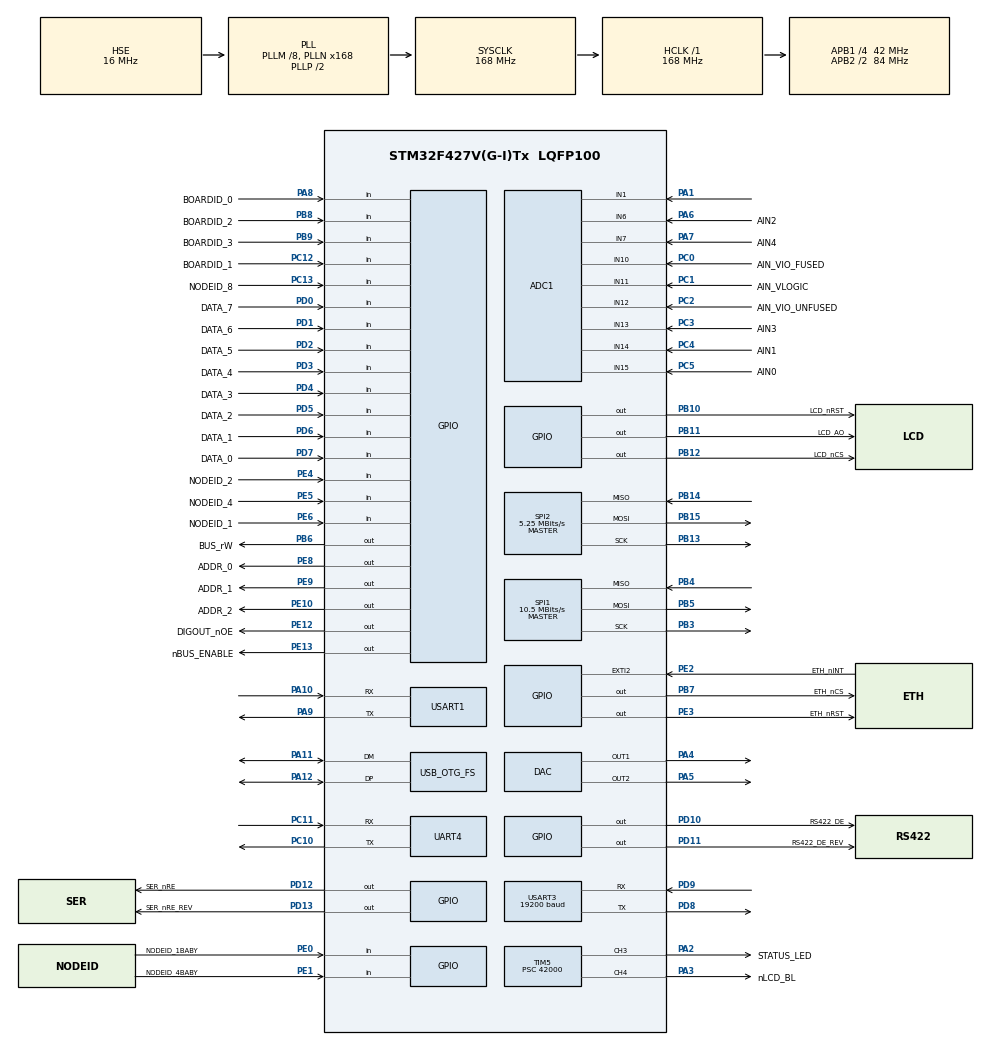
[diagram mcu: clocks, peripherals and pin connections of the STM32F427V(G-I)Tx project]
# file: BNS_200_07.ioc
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ADC1.Channel-0\#ChannelRegularConversion=ADC_CHANNEL_6
ADC1.NbrOfConversionFlag=1
ADC1.Rank-0\#ChannelRegularConversion=1
ADC1.SamplingTime-0\#ChannelRegularConversion=ADC_SAMPLETIME_3CYCLES
ADC1.master=1
Dma.Request0=USART3_TX
Dma.Request1=USART3_RX
Dma.USART3_RX.1.Direction=DMA_PERIPH_TO_MEMORY
Dma.USART3_RX.1.FIFOMode=DMA_FIFOMODE_DISABLE
Dma.USART3_RX.1.Instance=DMA1_Stream1
Dma.USART3_RX.1.MemDataAlignment=DMA_MDATAALIGN_BYTE
Dma.USART3_RX.1.MemInc=DMA_MINC_ENABLE
Dma.USART3_RX.1.Mode=DMA_CIRCULAR
Dma.USART3_RX.1.PeriphDataAlignment=DMA_PDATAALIGN_BYTE
Dma.USART3_RX.1.PeriphInc=DMA_PINC_DISABLE
Dma.USART3_RX.1.Priority=DMA_PRIORITY_LOW
Dma.USART3_TX.0.Direction=DMA_MEMORY_TO_PERIPH
Dma.USART3_TX.0.FIFOMode=DMA_FIFOMODE_DISABLE
Dma.USART3_TX.0.Instance=DMA1_Stream3
Dma.USART3_TX.0.MemDataAlignment=DMA_MDATAALIGN_BYTE
Dma.USART3_TX.0.MemInc=DMA_MINC_ENABLE
Dma.USART3_TX.0.Mode=DMA_NORMAL
Dma.USART3_TX.0.PeriphDataAlignment=DMA_PDATAALIGN_BYTE
Dma.USART3_TX.0.PeriphInc=DMA_PINC_DISABLE
Dma.USART3_TX.0.Priority=DMA_PRIORITY_LOW
Mcu.Family=STM32F4
Mcu.Name=STM32F427V(G-I)Tx
Mcu.Package=LQFP100
NVIC.DMA1_Stream1_IRQn=true\:0\:0\:false\:false\:true\:false\:true\:true
NVIC.DMA1_Stream3_IRQn=true\:0\:0\:false\:false\:true\:false\:true\:true
NVIC.OTG_FS_IRQn=true\:0\:0\:false\:false\:true\:false\:true\:true
NVIC.PriorityGroup=NVIC_PRIORITYGROUP_4
NVIC.UART4_IRQn=true\:0\:0\:false\:false\:true\:true\:true\:true
NVIC.USART1_IRQn=true\:0\:0\:false\:false\:true\:true\:true\:true
NVIC.USART3_IRQn=true\:0\:0\:false\:false\:true\:true\:true\:true
PA1.Signal=ADCx_IN1
PA10.Mode=Asynchronous
PA10.Signal=USART1_RX
PA11.Mode=Device_Only
PA11.Signal=USB_OTG_FS_DM
PA12.Mode=Device_Only
PA12.Signal=USB_OTG_FS_DP
PA13.Mode=Serial_Wire
PA13.Signal=SYS_JTMS-SWDIO
PA14.Mode=Serial_Wire
PA14.Signal=SYS_JTCK-SWCLK
PA2.GPIO_Label=STATUS_LED
PA2.Signal=S_TIM5_CH3
PA3.GPIO_Label=nLCD_BL
PA3.Signal=S_TIM5_CH4
PA4.Signal=COMP_DAC1_group
PA5.Signal=COMP_DAC2_group
PA6.GPIO_Label=AIN2
PA6.Signal=ADCx_IN6
PA7.GPIO_Label=AIN4
PA7.Signal=ADCx_IN7
PA8.GPIO_Label=BOARDID_0
PA8.GPIO_PuPd=GPIO_PULLDOWN
PA8.Signal=GPIO_Input
PA9.Mode=Asynchronous
PA9.Signal=USART1_TX
PB10.GPIO_Label=LCD_nRST
PB10.PinState=GPIO_PIN_SET
PB10.Signal=GPIO_Output
PB11.GPIO_Label=LCD_AO
PB11.Signal=GPIO_Output
PB12.GPIO_Label=LCD_nCS
PB12.PinState=GPIO_PIN_SET
PB12.Signal=GPIO_Output
PB13.Mode=Full_Duplex_Master
PB13.Signal=SPI2_SCK
PB14.Mode=Full_Duplex_Master
PB14.Signal=SPI2_MISO
PB15.Mode=Full_Duplex_Master
PB15.Signal=SPI2_MOSI
PB3.Mode=Full_Duplex_Master
PB3.Signal=SPI1_SCK
PB4.Mode=Full_Duplex_Master
PB4.Signal=SPI1_MISO
PB5.Mode=Full_Duplex_Master
PB5.Signal=SPI1_MOSI
PB6.GPIO_Label=BUS_rW
PB6.Signal=GPIO_Output
PB7.GPIO_Label=ETH_nCS
PB7.PinState=GPIO_PIN_SET
PB7.Signal=GPIO_Output
PB8.GPIO_Label=BOARDID_2
PB8.GPIO_PuPd=GPIO_PULLDOWN
PB8.Signal=GPIO_Input
PB9.GPIO_Label=BOARDID_3
PB9.GPIO_PuPd=GPIO_PULLDOWN
PB9.Signal=GPIO_Input
PC0.GPIO_Label=AIN_VIO_FUSED
PC0.Signal=ADCx_IN10
PC1.GPIO_Label=AIN_VLOGIC
PC1.Signal=ADCx_IN11
PC10.Mode=Asynchronous
PC10.Signal=UART4_TX
PC11.Mode=Asynchronous
PC11.Signal=UART4_RX
PC12.GPIO_Label=BOARDID_1
PC12.GPIO_PuPd=GPIO_PULLDOWN
PC12.Signal=GPIO_Input
PC13.GPIO_Label=NODEID_8
PC13.GPIO_PuPd=GPIO_PULLDOWN
PC13.Signal=GPIO_Input
PC14/OSC32_IN.Mode=LSE-External-Oscillator
PC14/OSC32_IN.Signal=RCC_OSC32_IN
PC15/OSC32_OUT.Mode=LSE-External-Oscillator
PC15/OSC32_OUT.Signal=RCC_OSC32_OUT
PC2.GPIO_Label=AIN_VIO_UNFUSED
PC2.Signal=ADCx_IN12
PC3.GPIO_Label=AIN3
PC3.Signal=ADCx_IN13
PC4.GPIO_Label=AIN1
PC4.Signal=ADCx_IN14
PC5.GPIO_Label=AIN0
PC5.Signal=ADCx_IN15
PD0.GPIO_Label=DATA_7
PD0.Signal=GPIO_Input
PD1.GPIO_Label=DATA_6
PD1.Signal=GPIO_Input
PD10.GPIO_Label=RS422_DE
PD10.Signal=GPIO_Output
PD11.GPIO_Label=RS422_DE_REV
PD11.Signal=GPIO_Output
PD12.GPIO_Label=SER_nRE
PD12.PinState=GPIO_PIN_SET
PD12.Signal=GPIO_Output
PD13.GPIO_Label=SER_nRE_REV
PD13.PinState=GPIO_PIN_SET
PD13.Signal=GPIO_Output
PD2.GPIO_Label=DATA_5
PD2.Signal=GPIO_Input
PD3.GPIO_Label=DATA_4
PD3.Signal=GPIO_Input
PD4.GPIO_Label=DATA_3
PD4.Signal=GPIO_Input
PD5.GPIO_Label=DATA_2
PD5.Signal=GPIO_Input
PD6.GPIO_Label=DATA_1
PD6.Signal=GPIO_Input
PD7.GPIO_Label=DATA_0
PD7.Signal=GPIO_Input
PD8.Mode=Asynchronous
PD8.Signal=USART3_TX
PD9.Mode=Asynchronous
PD9.Signal=USART3_RX
PE0.GPIO_Label=NODEID_1BABY
PE0.GPIO_PuPd=GPIO_PULLDOWN
PE0.Signal=GPIO_Input
PE1.GPIO_Label=NODEID_4BABY
PE1.GPIO_PuPd=GPIO_PULLDOWN
PE1.Signal=GPIO_Input
PE10.GPIO_Label=ADDR_2
PE10.Signal=GPIO_Output
PE12.GPIO_Label=DIGOUT_nOE
PE12.PinState=GPIO_PIN_SET
PE12.Signal=GPIO_Output
PE13.GPIO_Label=nBUS_ENABLE
PE13.PinState=GPIO_PIN_SET
PE13.Signal=GPIO_Output
PE2.GPIO_Label=ETH_nINT
PE2.GPIO_ModeDefaultEXTI=GPIO_MODE_IT_FALLING
PE2.GPIO_PuPd=GPIO_PULLUP
PE2.Signal=GPXTI2
PE3.GPIO_Label=ETH_nRST
PE3.PinState=GPIO_PIN_SET
PE3.Signal=GPIO_Output
PE4.GPIO_Label=NODEID_2
PE4.GPIO_PuPd=GPIO_PULLDOWN
PE4.Signal=GPIO_Input
PE5.GPIO_Label=NODEID_4
PE5.GPIO_PuPd=GPIO_PULLDOWN
PE5.Signal=GPIO_Input
PE6.GPIO_Label=NODEID_1
PE6.GPIO_PuPd=GPIO_PULLDOWN
PE6.Signal=GPIO_Input
PE8.GPIO_Label=ADDR_0
PE8.Signal=GPIO_Output
PE9.GPIO_Label=ADDR_1
PE9.Signal=GPIO_Output
PH0/OSC_IN.Mode=HSE-External-Oscillator
PH0/OSC_IN.Signal=RCC_OSC_IN
PH1/OSC_OUT.Mode=HSE-External-Oscillator
PH1/OSC_OUT.Signal=RCC_OSC_OUT
ProjectManager.HeapSize=0x200
ProjectManager.StackSize=0x400
ProjectManager.TargetToolchain=STM32CubeIDE
RCC.48MHZClocksFreq_Value=48000000
RCC.AHBFreq_Value=168000000
RCC.APB1CLKDivider=RCC_HCLK_DIV4
RCC.APB1Freq_Value=42000000
RCC.APB1TimFreq_Value=84000000
RCC.APB2CLKDivider=RCC_HCLK_DIV2
RCC.APB2Freq_Value=84000000
RCC.APB2TimFreq_Value=168000000
RCC.CortexFreq_Value=168000000
RCC.HCLKFreq_Value=168000000
RCC.HSE_VALUE=16000000
RCC.HSI_VALUE=16000000
RCC.PLLM=8
RCC.PLLN=168
RCC.PLLQ=7
RCC.RCC_MCO1Source=RCC_MCO1SOURCE_HSE
RCC.RCC_RTC_Clock_Source=RCC_RTCCLKSOURCE_LSE
RCC.RCC_RTC_Clock_SourceVirtual=RCC_RTCCLKSOURCE_LSE
RCC.SYSCLKFreq_VALUE=168000000
RCC.SYSCLKSource=RCC_SYSCLKSOURCE_PLLCLK
RCC.VCOOutputFreq_Value=336000000
SH.ADCx_IN1.0=ADC1_IN1,IN1
SH.ADCx_IN10.0=ADC1_IN10,IN10
SH.ADCx_IN11.0=ADC1_IN11,IN11
SH.ADCx_IN12.0=ADC1_IN12,IN12
SH.ADCx_IN13.0=ADC1_IN13,IN13
SH.ADCx_IN14.0=ADC1_IN14,IN14
SH.ADCx_IN15.0=ADC1_IN15,IN15
SH.ADCx_IN6.0=ADC1_IN6,IN6
SH.ADCx_IN7.0=ADC1_IN7,IN7
SH.COMP_DAC1_group.0=DAC_OUT1,DAC_OUT1
SH.COMP_DAC2_group.0=DAC_OUT2,DAC_OUT2
SH.S_TIM5_CH3.0=TIM5_CH3,PWM Generation3 CH3
SH.S_TIM5_CH4.0=TIM5_CH4,PWM Generation4 CH4
SPI1.BaudRatePrescaler=SPI_BAUDRATEPRESCALER_8
SPI1.CalculateBaudRate=10.5 MBits/s
SPI1.Direction=SPI_DIRECTION_2LINES
SPI1.Mode=SPI_MODE_MASTER
SPI1.VirtualType=VM_MASTER
SPI2.BaudRatePrescaler=SPI_BAUDRATEPRESCALER_8
SPI2.CalculateBaudRate=5.25 MBits/s
SPI2.Direction=SPI_DIRECTION_2LINES
SPI2.Mode=SPI_MODE_MASTER
SPI2.VirtualType=VM_MASTER
TIM5.Channel-PWM\ Generation3\ CH3=TIM_CHANNEL_3
TIM5.Channel-PWM\ Generation4\ CH4=TIM_CHANNEL_4
TIM5.OCPolarity_4=TIM_OCPOLARITY_LOW
TIM5.Period=100-1
TIM5.Prescaler=42000
UART4.VirtualMode=Asynchronous
USART1.VirtualMode=VM_ASYNC
USART3.BaudRate=19200
USART3.VirtualMode=VM_ASYNC
USB_DEVICE.CLASS_NAME_FS=CDC
USB_DEVICE.VirtualMode-CDC_FS=Cdc
USB_DEVICE.VirtualModeFS=Cdc_FS
USB_OTG_FS.VirtualMode=Device_Only
VP_ADC1_TempSens_Input.Mode=IN-TempSens
VP_RTC_VS_RTC_Activate.Mode=RTC_Enabled
VP_TIM5_VS_ClockSourceINT.Mode=Internal
VP_USB_DEVICE_VS_USB_DEVICE_CDC_FS.Mode=CDC_FS
board=custom

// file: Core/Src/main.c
/* USER CODE BEGIN Header */
/**
  ******************************************************************************
  * @file           : main.c
  * @brief          : Main program body
  ******************************************************************************
  * @attention
  *
  * Copyright (c) 2025 STMicroelectronics.
  * All rights reserved.
  *
  * This software is licensed under terms that can be found in the LICENSE file
  * in the root directory of this software component.
  * If no LICENSE file comes with this software, it is provided AS-IS.
  *
  ******************************************************************************
  */
/* USER CODE END Header */
#include "main.h"
#include "usb_device.h"

/* USER CODE BEGIN Includes */
#include "board_id.h"
#include "node_id.h"
#include "aio.h"
#include "dio.h"
#include "status_led.h"
#include "w5500.h"
#include "comm.h"
#include "app.h"
#include "user_config.h"
#include "webserver.h"
#include "modbus_tcp.h"
#include "mqtt_client.h"
#if defined(BOARD_MAMA)
#include "lcd_display.h"
#endif

/* USER CODE END Includes */

ADC_HandleTypeDef hadc1;

DAC_HandleTypeDef hdac;

RTC_HandleTypeDef hrtc;

SPI_HandleTypeDef hspi1;
SPI_HandleTypeDef hspi2;

TIM_HandleTypeDef htim5;

UART_HandleTypeDef huart4;
UART_HandleTypeDef huart1;
UART_HandleTypeDef huart3;
DMA_HandleTypeDef hdma_usart3_tx;
DMA_HandleTypeDef hdma_usart3_rx;

/* USER CODE BEGIN PV */

static board_type_t board;
static uint8_t node_id;

/* USER CODE END PV */

void SystemClock_Config(void);
static void MX_GPIO_Init(void);
static void MX_DMA_Init(void);
static void MX_ADC1_Init(void);
static void MX_UART4_Init(void);
static void MX_USART1_UART_Init(void);
static void MX_USART3_UART_Init(void);
static void MX_SPI1_Init(void);
static void MX_DAC_Init(void);
static void MX_SPI2_Init(void);
static void MX_TIM5_Init(void);
static void MX_RTC_Init(void);
/* USER CODE BEGIN PFP */
//void Fix_Clock_For_Baby_Board(void);  //req'd for baby boards since they have 8MHx HSE xtals instead of 16MHz
void Baby_SystemClock_Config(void);
void Normal_SystemClock_Config(void);
int newMain(void);	//used as the actual "main" since we're customizing the clock setup.
/* USER CODE END PFP */

/* USER CODE BEGIN 0 */

void Baby_SystemClock_Config(void){

//#ifdef HSE_VALUE
//#undef HSE_VALUE
//#define HSE_VALUE 8000000U
//#endif
//	SystemCoreClockUpdate();

	RCC_OscInitTypeDef RCC_OscInitStruct = {0};
	RCC_ClkInitTypeDef RCC_ClkInitStruct = {0};

	/** Configure the main internal regulator output voltage
	*/
	__HAL_RCC_PWR_CLK_ENABLE();
	__HAL_PWR_VOLTAGESCALING_CONFIG(PWR_REGULATOR_VOLTAGE_SCALE1);

	/** Initializes the RCC Oscillators according to the specified parameters
	* in the RCC_OscInitTypeDef structure.
	*/
	RCC_OscInitStruct.OscillatorType = RCC_OSCILLATORTYPE_HSE|RCC_OSCILLATORTYPE_LSE;
	RCC_OscInitStruct.HSEState = RCC_HSE_ON;
	RCC_OscInitStruct.LSEState = RCC_LSE_ON;
	RCC_OscInitStruct.PLL.PLLState = RCC_PLL_ON;
	RCC_OscInitStruct.PLL.PLLSource = RCC_PLLSOURCE_HSE;
	RCC_OscInitStruct.PLL.PLLM = 4;
	RCC_OscInitStruct.PLL.PLLN = 168;
	RCC_OscInitStruct.PLL.PLLP = RCC_PLLP_DIV2;
	RCC_OscInitStruct.PLL.PLLQ = 7;
	if (HAL_RCC_OscConfig(&RCC_OscInitStruct) != HAL_OK)
	{
	Error_Handler();
	}

	/** Initializes the CPU, AHB and APB buses clocks
	*/
	RCC_ClkInitStruct.ClockType = RCC_CLOCKTYPE_HCLK|RCC_CLOCKTYPE_SYSCLK
							  |RCC_CLOCKTYPE_PCLK1|RCC_CLOCKTYPE_PCLK2;
	RCC_ClkInitStruct.SYSCLKSource = RCC_SYSCLKSOURCE_PLLCLK;
	RCC_ClkInitStruct.AHBCLKDivider = RCC_SYSCLK_DIV1;
	RCC_ClkInitStruct.APB1CLKDivider = RCC_HCLK_DIV4;
	RCC_ClkInitStruct.APB2CLKDivider = RCC_HCLK_DIV2;

	if (HAL_RCC_ClockConfig(&RCC_ClkInitStruct, FLASH_LATENCY_5) != HAL_OK)
	{
	Error_Handler();
	}
}

void Normal_SystemClock_Config(void){

//#ifdef HSE_VALUE
//#undef HSE_VALUE
//#define HSE_VALUE 16000000U
//#endif
//	SystemCoreClockUpdate();

	RCC_OscInitTypeDef RCC_OscInitStruct = {0};
	RCC_ClkInitTypeDef RCC_ClkInitStruct = {0};

	/** Configure the main internal regulator output voltage
	*/
	__HAL_RCC_PWR_CLK_ENABLE();
	__HAL_PWR_VOLTAGESCALING_CONFIG(PWR_REGULATOR_VOLTAGE_SCALE1);

	/** Initializes the RCC Oscillators according to the specified parameters
	* in the RCC_OscInitTypeDef structure.
	*/
	RCC_OscInitStruct.OscillatorType = RCC_OSCILLATORTYPE_HSE|RCC_OSCILLATORTYPE_LSE;
	RCC_OscInitStruct.HSEState = RCC_HSE_ON;
	RCC_OscInitStruct.LSEState = RCC_LSE_ON;
	RCC_OscInitStruct.PLL.PLLState = RCC_PLL_ON;
	RCC_OscInitStruct.PLL.PLLSource = RCC_PLLSOURCE_HSE;
	RCC_OscInitStruct.PLL.PLLM = 8;
	RCC_OscInitStruct.PLL.PLLN = 168;
	RCC_OscInitStruct.PLL.PLLP = RCC_PLLP_DIV2;
	RCC_OscInitStruct.PLL.PLLQ = 7;
	if (HAL_RCC_OscConfig(&RCC_OscInitStruct) != HAL_OK)
	{
	Error_Handler();
	}

	/** Initializes the CPU, AHB and APB buses clocks
	*/
	RCC_ClkInitStruct.ClockType = RCC_CLOCKTYPE_HCLK|RCC_CLOCKTYPE_SYSCLK
							  |RCC_CLOCKTYPE_PCLK1|RCC_CLOCKTYPE_PCLK2;
	RCC_ClkInitStruct.SYSCLKSource = RCC_SYSCLKSOURCE_PLLCLK;
	RCC_ClkInitStruct.AHBCLKDivider = RCC_SYSCLK_DIV1;
	RCC_ClkInitStruct.APB1CLKDivider = RCC_HCLK_DIV4;
	RCC_ClkInitStruct.APB2CLKDivider = RCC_HCLK_DIV2;

	if (HAL_RCC_ClockConfig(&RCC_ClkInitStruct, FLASH_LATENCY_5) != HAL_OK)
	{
	Error_Handler();
	}
}

int newMain(void){
	//This sub is used as the replacement main() so that we can customize the clock init.

	// --- *** IMPORTANT *** --- //
	// This must be located in the "USER CODE BEGIN Header" section of stm32f4xx_hal_conf_template.h

	// #if defined(BOARD_BABY)
	// #define HSE_VALUE 8000000U /*!< Value of the External oscillator in Hz */
	// #else
	// #define HSE_VALUE 16000000U /*!< Value of the External oscillator in Hz */
	// #endif

	  /* Configure the system clock */
#if defined(BOARD_BABY)
	Baby_SystemClock_Config();
#else
	Normal_SystemClock_Config();
#endif

	  /* Initialize all configured peripherals */
	  MX_GPIO_Init();
	  MX_DMA_Init();
	  MX_ADC1_Init();
	  MX_UART4_Init();
	  MX_USART1_UART_Init();
	  MX_USART3_UART_Init();
	  MX_SPI1_Init();
	  MX_DAC_Init();
	  MX_SPI2_Init();
	  MX_TIM5_Init();
	  MX_USB_DEVICE_Init();
	  MX_RTC_Init();
	  /* USER CODE BEGIN 2 */

	  dio_output_enable(false);

	  board    = board_get_type();
	  node_id  = node_id_get();

	  dio_init(board);

	  dio_all_outputs_off();
	  dio_output_enable(true);          // safe for Baby, required for Mama

	  aio_init(board);

	  status_led_init(board);
	  status_led_set_mode(LED_MODE_BOOTING);

	  /* Load user configuration from flash (or defaults) */
	  config_init(board);
	  user_config_data_t *cfg = config_get();

	  /* Apply config-driven network settings before comm init */
	  // TODO: remove forced DHCP override after debugging
	  w5500_set_ip_mode(IP_MODE_DHCP);
	  //w5500_set_ip_mode(cfg->ip_mode ? IP_MODE_DHCP : IP_MODE_STATIC);
	  w5500_set_network_config(cfg->static_ip, cfg->gateway, cfg->subnet);

	  comm_init(node_id);
	  app_init();

	  /* Initialize web server (opens HTTP sockets 2-3) */
	  webserver_init();

	  /* Initialize Modbus TCP server (socket 4, port 502) */
	  modbus_tcp_init();

	  /* Initialize MQTT client (socket 5, port 1883) */
	  mqtt_client_init();

#if defined(BOARD_MAMA)
	  /* Initialize LCD display if enabled */
	  lcd_init();
#endif

	  //status_led_set(STATUS_APP_RUNNING);

	  char buf[64];
	  snprintf(buf, sizeof(buf), "Startup. Node ID: %d", node_id);
	  debug_println(buf);

	  // Check stack margin
	  extern uint8_t _estack;
	  uint32_t sp = __get_MSP();
	  uint32_t top = (uint32_t)&_estack;
	  uint32_t margin = top - sp;

	  snprintf(buf, sizeof(buf), "Stack top: 0x%08lX", top);
	  debug_println(buf);

	  snprintf(buf, sizeof(buf), "Current SP: 0x%08lX", sp);
	  debug_println(buf);

	  snprintf(buf, sizeof(buf), "Stack margin: %lu bytes", margin);
	  debug_println(buf);

	  snprintf(buf, sizeof(buf), "Board: %s  IP mode: %s",
	      board == BOARD_TYPE_MAMA ? "MAMA" : "BABY",
	      cfg->ip_mode ? "DHCP" : "STATIC");
	  debug_println(buf);

	  bool ip_printed = false;

	  while (1)
	    {

	  	  comm_task();
	  	  app_task();
	  	  webserver_task();
	  	  modbus_tcp_task();
	  	  mqtt_client_task();
#if defined(BOARD_MAMA)
	  	  lcd_task();
#endif

	  	  /* Print IP address once it's available */
	  	  if (!ip_printed) {
	  	      uint8_t ip[4];
	  	      w5500_get_ip(ip);
	  	      if (ip[0] != 0 || ip[1] != 0 || ip[2] != 0 || ip[3] != 0) {
	  	          snprintf(buf, sizeof(buf), "IP: %d.%d.%d.%d", ip[0], ip[1], ip[2], ip[3]);
	  	          debug_println(buf);
	  	          ip_printed = true;
	  	      }
	  	  }

	    }
}

/* USER CODE END 0 */

int main(void)
{

  /* MCU Configuration--------------------------------------------------------*/

  /* Reset of all peripherals, Initializes the Flash interface and the Systick. */
  HAL_Init();

  /* USER CODE BEGIN Init */
//Send to the replacement main() sub.  No other code in this main will run, everything is moved to main2().
	newMain();
  /* USER CODE END Init */

  /* Configure the system clock */
  SystemClock_Config();

  /* USER CODE BEGIN SysInit */
  //Fix_Clock_For_Baby_Board();  // Runs only on BABY — fixes PLLM
  // === ENABLE USB CLOCK (MUST BE BEFORE MX_USB_DEVICE_Init) ===
      __HAL_RCC_USB_OTG_FS_CLK_ENABLE();

  /* USER CODE END SysInit */

  /* Initialize all configured peripherals */
  MX_GPIO_Init();
  MX_DMA_Init();
  MX_ADC1_Init();
  MX_UART4_Init();
  MX_USART1_UART_Init();
  MX_USART3_UART_Init();
  MX_SPI1_Init();
  MX_DAC_Init();
  MX_SPI2_Init();
  MX_TIM5_Init();
  MX_USB_DEVICE_Init();
  MX_RTC_Init();
  /* USER CODE BEGIN 2 */

	  dio_output_enable(false);

	  board    = board_get_type();
	  node_id  = node_id_get();

	  dio_init(board);

	  dio_all_outputs_off();
	  dio_output_enable(true);          // safe for Baby, required for Mama

	  aio_init(board);

	  status_led_init(board);
	  status_led_set_mode(LED_MODE_BOOTING);

	  /* Load user configuration from flash (or defaults) */
	  config_init(board);
	  user_config_data_t *cfg = config_get();

	  /* Apply config-driven network settings before comm init */
	  // TODO: remove forced DHCP override after debugging
	  w5500_set_ip_mode(IP_MODE_DHCP);
	  //w5500_set_ip_mode(cfg->ip_mode ? IP_MODE_DHCP : IP_MODE_STATIC);
	  w5500_set_network_config(cfg->static_ip, cfg->gateway, cfg->subnet);

	  comm_init(node_id);
	  app_init();

	  /* Initialize web server (opens HTTP sockets 2-3) */
	  webserver_init();

	  /* Initialize Modbus TCP server (socket 4, port 502) */
	  modbus_tcp_init();

	  /* Initialize MQTT client (socket 5, port 1883) */
	  mqtt_client_init();

#if defined(BOARD_MAMA)
	  /* Initialize LCD display if enabled */
	  lcd_init();
#endif

	  //status_led_set(STATUS_APP_RUNNING);

	  char buf[64];
	  snprintf(buf, sizeof(buf), "Startup. Node ID: %d", node_id);
	  debug_println(buf);

	  // Check stack margin
	  extern uint8_t _estack;
	  uint32_t sp = __get_MSP();
	  uint32_t top = (uint32_t)&_estack;
	  uint32_t margin = top - sp;

	  snprintf(buf, sizeof(buf), "Stack top: 0x%08lX", top);
	  debug_println(buf);

	  snprintf(buf, sizeof(buf), "Current SP: 0x%08lX", sp);
	  debug_println(buf);

	  snprintf(buf, sizeof(buf), "Stack margin: %lu bytes", margin);
	  debug_println(buf);

	  snprintf(buf, sizeof(buf), "Board: %s  IP mode: %s",
	      board == BOARD_TYPE_MAMA ? "MAMA" : "BABY",
	      cfg->ip_mode ? "DHCP" : "STATIC");
	  debug_println(buf);

	  bool ip_printed = false;

	  while (1)
	    {

	  	  comm_task();
	  	  app_task();
	  	  webserver_task();
	  	  modbus_tcp_task();
	  	  mqtt_client_task();
#if defined(BOARD_MAMA)
	  	  lcd_task();
#endif

	  	  /* Print IP address once it's available */
	  	  if (!ip_printed) {
	  	      uint8_t ip[4];
	  	      w5500_get_ip(ip);
	  	      if (ip[0] != 0 || ip[1] != 0 || ip[2] != 0 || ip[3] != 0) {
	  	          snprintf(buf, sizeof(buf), "IP: %d.%d.%d.%d", ip[0], ip[1], ip[2], ip[3]);
	  	          debug_println(buf);
	  	          ip_printed = true;
	  	      }
	  	  }

	    }
}

/* USER CODE END 0 */

void SystemClock_Config(void)
{
  RCC_OscInitTypeDef RCC_OscInitStruct = {0};
  RCC_ClkInitTypeDef RCC_ClkInitStruct = {0};

  /** Configure the main internal regulator output voltage
  */
  __HAL_RCC_PWR_CLK_ENABLE();
  __HAL_PWR_VOLTAGESCALING_CONFIG(PWR_REGULATOR_VOLTAGE_SCALE1);

  /** Initializes the RCC Oscillators according to the specified parameters
  * in the RCC_OscInitTypeDef structure.
  */
  RCC_OscInitStruct.OscillatorType = RCC_OSCILLATORTYPE_HSE|RCC_OSCILLATORTYPE_LSE;
  RCC_OscInitStruct.HSEState = RCC_HSE_ON;
  RCC_OscInitStruct.LSEState = RCC_LSE_ON;
  RCC_OscInitStruct.PLL.PLLState = RCC_PLL_ON;
  RCC_OscInitStruct.PLL.PLLSource = RCC_PLLSOURCE_HSE;
  RCC_OscInitStruct.PLL.PLLM = 8;
  RCC_OscInitStruct.PLL.PLLN = 168;
  RCC_OscInitStruct.PLL.PLLP = RCC_PLLP_DIV2;
  RCC_OscInitStruct.PLL.PLLQ = 7;
  if (HAL_RCC_OscConfig(&RCC_OscInitStruct) != HAL_OK)
  {
    Error_Handler();
  }

  /** Initializes the CPU, AHB and APB buses clocks
  */
  RCC_ClkInitStruct.ClockType = RCC_CLOCKTYPE_HCLK|RCC_CLOCKTYPE_SYSCLK
                              |RCC_CLOCKTYPE_PCLK1|RCC_CLOCKTYPE_PCLK2;
  RCC_ClkInitStruct.SYSCLKSource = RCC_SYSCLKSOURCE_PLLCLK;
  RCC_ClkInitStruct.AHBCLKDivider = RCC_SYSCLK_DIV1;
  RCC_ClkInitStruct.APB1CLKDivider = RCC_HCLK_DIV4;
  RCC_ClkInitStruct.APB2CLKDivider = RCC_HCLK_DIV2;

  if (HAL_RCC_ClockConfig(&RCC_ClkInitStruct, FLASH_LATENCY_5) != HAL_OK)
  {
    Error_Handler();
  }
}

static void MX_ADC1_Init(void)
{

  ADC_ChannelConfTypeDef sConfig = {0};

  /** Configure the global features of the ADC (Clock, Resolution, Data Alignment and number of conversion)
  */
  hadc1.Instance = ADC1;
  hadc1.Init.ClockPrescaler = ADC_CLOCK_SYNC_PCLK_DIV4;
  hadc1.Init.Resolution = ADC_RESOLUTION_12B;
  hadc1.Init.ScanConvMode = DISABLE;
  hadc1.Init.ContinuousConvMode = DISABLE;
  hadc1.Init.DiscontinuousConvMode = DISABLE;
  hadc1.Init.ExternalTrigConvEdge = ADC_EXTERNALTRIGCONVEDGE_NONE;
  hadc1.Init.ExternalTrigConv = ADC_SOFTWARE_START;
  hadc1.Init.DataAlign = ADC_DATAALIGN_RIGHT;
  hadc1.Init.NbrOfConversion = 1;
  hadc1.Init.DMAContinuousRequests = DISABLE;
  hadc1.Init.EOCSelection = ADC_EOC_SINGLE_CONV;
  if (HAL_ADC_Init(&hadc1) != HAL_OK)
  {
    Error_Handler();
  }

  /** Configure for the selected ADC regular channel its corresponding rank in the sequencer and its sample time.
  */
  sConfig.Channel = ADC_CHANNEL_6;
  sConfig.Rank = 1;
  sConfig.SamplingTime = ADC_SAMPLETIME_3CYCLES;
  if (HAL_ADC_ConfigChannel(&hadc1, &sConfig) != HAL_OK)
  {
    Error_Handler();
  }

}

static void MX_DAC_Init(void)
{

  DAC_ChannelConfTypeDef sConfig = {0};

  /** DAC Initialization
  */
  hdac.Instance = DAC;
  if (HAL_DAC_Init(&hdac) != HAL_OK)
  {
    Error_Handler();
  }

  /** DAC channel OUT1 config
  */
  sConfig.DAC_Trigger = DAC_TRIGGER_NONE;
  sConfig.DAC_OutputBuffer = DAC_OUTPUTBUFFER_ENABLE;
  if (HAL_DAC_ConfigChannel(&hdac, &sConfig, DAC_CHANNEL_1) != HAL_OK)
  {
    Error_Handler();
  }

  /** DAC channel OUT2 config
  */
  if (HAL_DAC_ConfigChannel(&hdac, &sConfig, DAC_CHANNEL_2) != HAL_OK)
  {
    Error_Handler();
  }

}

static void MX_RTC_Init(void)
{

  /** Initialize RTC Only
  */
  hrtc.Instance = RTC;
  hrtc.Init.HourFormat = RTC_HOURFORMAT_24;
  hrtc.Init.AsynchPrediv = 127;
  hrtc.Init.SynchPrediv = 255;
  hrtc.Init.OutPut = RTC_OUTPUT_DISABLE;
  hrtc.Init.OutPutPolarity = RTC_OUTPUT_POLARITY_HIGH;
  hrtc.Init.OutPutType = RTC_OUTPUT_TYPE_OPENDRAIN;
  if (HAL_RTC_Init(&hrtc) != HAL_OK)
  {
    Error_Handler();
  }

}

static void MX_SPI1_Init(void)
{

  /* SPI1 parameter configuration*/
  hspi1.Instance = SPI1;
  hspi1.Init.Mode = SPI_MODE_MASTER;
  hspi1.Init.Direction = SPI_DIRECTION_2LINES;
  hspi1.Init.DataSize = SPI_DATASIZE_8BIT;
  hspi1.Init.CLKPolarity = SPI_POLARITY_LOW;
  hspi1.Init.CLKPhase = SPI_PHASE_1EDGE;
  hspi1.Init.NSS = SPI_NSS_SOFT;
  hspi1.Init.BaudRatePrescaler = SPI_BAUDRATEPRESCALER_8;
  hspi1.Init.FirstBit = SPI_FIRSTBIT_MSB;
  hspi1.Init.TIMode = SPI_TIMODE_DISABLE;
  hspi1.Init.CRCCalculation = SPI_CRCCALCULATION_DISABLE;
  hspi1.Init.CRCPolynomial = 10;
  if (HAL_SPI_Init(&hspi1) != HAL_OK)
  {
    Error_Handler();
  }

}

static void MX_SPI2_Init(void)
{

  /* SPI2 parameter configuration*/
  hspi2.Instance = SPI2;
  hspi2.Init.Mode = SPI_MODE_MASTER;
  hspi2.Init.Direction = SPI_DIRECTION_2LINES;
  hspi2.Init.DataSize = SPI_DATASIZE_8BIT;
  hspi2.Init.CLKPolarity = SPI_POLARITY_LOW;
  hspi2.Init.CLKPhase = SPI_PHASE_1EDGE;
  hspi2.Init.NSS = SPI_NSS_SOFT;
  hspi2.Init.BaudRatePrescaler = SPI_BAUDRATEPRESCALER_8;
  hspi2.Init.FirstBit = SPI_FIRSTBIT_MSB;
  hspi2.Init.TIMode = SPI_TIMODE_DISABLE;
  hspi2.Init.CRCCalculation = SPI_CRCCALCULATION_DISABLE;
  hspi2.Init.CRCPolynomial = 10;
  if (HAL_SPI_Init(&hspi2) != HAL_OK)
  {
    Error_Handler();
  }

}

static void MX_TIM5_Init(void)
{

  TIM_ClockConfigTypeDef sClockSourceConfig = {0};
  TIM_MasterConfigTypeDef sMasterConfig = {0};
  TIM_OC_InitTypeDef sConfigOC = {0};

  htim5.Instance = TIM5;
  htim5.Init.Prescaler = 42000;
  htim5.Init.CounterMode = TIM_COUNTERMODE_UP;
  htim5.Init.Period = 100-1;
  htim5.Init.ClockDivision = TIM_CLOCKDIVISION_DIV1;
  htim5.Init.AutoReloadPreload = TIM_AUTORELOAD_PRELOAD_DISABLE;
  if (HAL_TIM_Base_Init(&htim5) != HAL_OK)
  {
    Error_Handler();
  }
  sClockSourceConfig.ClockSource = TIM_CLOCKSOURCE_INTERNAL;
  if (HAL_TIM_ConfigClockSource(&htim5, &sClockSourceConfig) != HAL_OK)
  {
    Error_Handler();
  }
  if (HAL_TIM_PWM_Init(&htim5) != HAL_OK)
  {
    Error_Handler();
  }
  sMasterConfig.MasterOutputTrigger = TIM_TRGO_RESET;
  sMasterConfig.MasterSlaveMode = TIM_MASTERSLAVEMODE_DISABLE;
  if (HAL_TIMEx_MasterConfigSynchronization(&htim5, &sMasterConfig) != HAL_OK)
  {
    Error_Handler();
  }
  sConfigOC.OCMode = TIM_OCMODE_PWM1;
  sConfigOC.Pulse = 0;
  sConfigOC.OCPolarity = TIM_OCPOLARITY_HIGH;
  sConfigOC.OCFastMode = TIM_OCFAST_DISABLE;
  if (HAL_TIM_PWM_ConfigChannel(&htim5, &sConfigOC, TIM_CHANNEL_3) != HAL_OK)
  {
    Error_Handler();
  }
  sConfigOC.OCPolarity = TIM_OCPOLARITY_LOW;
  if (HAL_TIM_PWM_ConfigChannel(&htim5, &sConfigOC, TIM_CHANNEL_4) != HAL_OK)
  {
    Error_Handler();
  }
  HAL_TIM_MspPostInit(&htim5);

}

static void MX_UART4_Init(void)
{

  huart4.Instance = UART4;
  huart4.Init.BaudRate = 115200;
  huart4.Init.WordLength = UART_WORDLENGTH_8B;
  huart4.Init.StopBits = UART_STOPBITS_1;
  huart4.Init.Parity = UART_PARITY_NONE;
  huart4.Init.Mode = UART_MODE_TX_RX;
  huart4.Init.HwFlowCtl = UART_HWCONTROL_NONE;
  huart4.Init.OverSampling = UART_OVERSAMPLING_16;
  if (HAL_UART_Init(&huart4) != HAL_OK)
  {
    Error_Handler();
  }

}

static void MX_USART1_UART_Init(void)
{

  huart1.Instance = USART1;
  huart1.Init.BaudRate = 115200;
  huart1.Init.WordLength = UART_WORDLENGTH_8B;
  huart1.Init.StopBits = UART_STOPBITS_1;
  huart1.Init.Parity = UART_PARITY_NONE;
  huart1.Init.Mode = UART_MODE_TX_RX;
  huart1.Init.HwFlowCtl = UART_HWCONTROL_NONE;
  huart1.Init.OverSampling = UART_OVERSAMPLING_16;
  if (HAL_UART_Init(&huart1) != HAL_OK)
  {
    Error_Handler();
  }

}

static void MX_USART3_UART_Init(void)
{

  huart3.Instance = USART3;
  huart3.Init.BaudRate = 19200;
  huart3.Init.WordLength = UART_WORDLENGTH_8B;
  huart3.Init.StopBits = UART_STOPBITS_1;
  huart3.Init.Parity = UART_PARITY_NONE;
  huart3.Init.Mode = UART_MODE_TX_RX;
  huart3.Init.HwFlowCtl = UART_HWCONTROL_NONE;
  huart3.Init.OverSampling = UART_OVERSAMPLING_16;
  if (HAL_UART_Init(&huart3) != HAL_OK)
  {
    Error_Handler();
  }

}

static void MX_DMA_Init(void)
{

  /* DMA controller clock enable */
  __HAL_RCC_DMA1_CLK_ENABLE();

  /* DMA interrupt init */
  /* DMA1_Stream1_IRQn interrupt configuration */
  HAL_NVIC_SetPriority(DMA1_Stream1_IRQn, 0, 0);
  HAL_NVIC_EnableIRQ(DMA1_Stream1_IRQn);
  /* DMA1_Stream3_IRQn interrupt configuration */
  HAL_NVIC_SetPriority(DMA1_Stream3_IRQn, 0, 0);
  HAL_NVIC_EnableIRQ(DMA1_Stream3_IRQn);

}

static void MX_GPIO_Init(void)
{
  GPIO_InitTypeDef GPIO_InitStruct = {0};

  /* GPIO Ports Clock Enable */
  __HAL_RCC_GPIOE_CLK_ENABLE();
  __HAL_RCC_GPIOC_CLK_ENABLE();
  __HAL_RCC_GPIOH_CLK_ENABLE();
  __HAL_RCC_GPIOA_CLK_ENABLE();
  __HAL_RCC_GPIOB_CLK_ENABLE();
  __HAL_RCC_GPIOD_CLK_ENABLE();

  /*Configure GPIO pin Output Level */
  HAL_GPIO_WritePin(GPIOE, ETH_nRST_Pin|DIGOUT_nOE_Pin|nBUS_ENABLE_Pin, GPIO_PIN_SET);

  /*Configure GPIO pin Output Level */
  HAL_GPIO_WritePin(GPIOE, ADDR_0_Pin|ADDR_1_Pin|ADDR_2_Pin, GPIO_PIN_RESET);

  /*Configure GPIO pin Output Level */
  HAL_GPIO_WritePin(GPIOB, LCD_nRST_Pin|LCD_nCS_Pin|ETH_nCS_Pin, GPIO_PIN_SET);

  /*Configure GPIO pin Output Level */
  HAL_GPIO_WritePin(GPIOB, LCD_AO_Pin|BUS_rW_Pin, GPIO_PIN_RESET);

  /*Configure GPIO pin Output Level */
  HAL_GPIO_WritePin(GPIOD, RS422_DE_Pin|RS422_DE_REV_Pin, GPIO_PIN_RESET);

  /*Configure GPIO pin Output Level */
  HAL_GPIO_WritePin(GPIOD, SER_nRE_Pin|SER_nRE_REV_Pin, GPIO_PIN_SET);

  /*Configure GPIO pin : ETH_nINT_Pin */
  GPIO_InitStruct.Pin = ETH_nINT_Pin;
  GPIO_InitStruct.Mode = GPIO_MODE_IT_FALLING;
  GPIO_InitStruct.Pull = GPIO_PULLUP;
  HAL_GPIO_Init(ETH_nINT_GPIO_Port, &GPIO_InitStruct);

  /*Configure GPIO pins : ETH_nRST_Pin ADDR_0_Pin ADDR_1_Pin ADDR_2_Pin
                           DIGOUT_nOE_Pin nBUS_ENABLE_Pin */
  GPIO_InitStruct.Pin = ETH_nRST_Pin|ADDR_0_Pin|ADDR_1_Pin|ADDR_2_Pin
                          |DIGOUT_nOE_Pin|nBUS_ENABLE_Pin;
  GPIO_InitStruct.Mode = GPIO_MODE_OUTPUT_PP;
  GPIO_InitStruct.Pull = GPIO_NOPULL;
  GPIO_InitStruct.Speed = GPIO_SPEED_FREQ_LOW;
  HAL_GPIO_Init(GPIOE, &GPIO_InitStruct);

  /*Configure GPIO pins : NODEID_2_Pin NODEID_4_Pin NODEID_1_Pin NODEID_1BABY_Pin
                           NODEID_4BABY_Pin */
  GPIO_InitStruct.Pin = NODEID_2_Pin|NODEID_4_Pin|NODEID_1_Pin|NODEID_1BABY_Pin
                          |NODEID_4BABY_Pin;
  GPIO_InitStruct.Mode = GPIO_MODE_INPUT;
  GPIO_InitStruct.Pull = GPIO_PULLDOWN;
  HAL_GPIO_Init(GPIOE, &GPIO_InitStruct);

  /*Configure GPIO pins : NODEID_8_Pin BOARDID_1_Pin */
  GPIO_InitStruct.Pin = NODEID_8_Pin|BOARDID_1_Pin;
  GPIO_InitStruct.Mode = GPIO_MODE_INPUT;
  GPIO_InitStruct.Pull = GPIO_PULLDOWN;
  HAL_GPIO_Init(GPIOC, &GPIO_InitStruct);

  /*Configure GPIO pins : LCD_nRST_Pin LCD_AO_Pin LCD_nCS_Pin BUS_rW_Pin
                           ETH_nCS_Pin */
  GPIO_InitStruct.Pin = LCD_nRST_Pin|LCD_AO_Pin|LCD_nCS_Pin|BUS_rW_Pin
                          |ETH_nCS_Pin;
  GPIO_InitStruct.Mode = GPIO_MODE_OUTPUT_PP;
  GPIO_InitStruct.Pull = GPIO_NOPULL;
  GPIO_InitStruct.Speed = GPIO_SPEED_FREQ_LOW;
  HAL_GPIO_Init(GPIOB, &GPIO_InitStruct);

  /*Configure GPIO pins : RS422_DE_Pin RS422_DE_REV_Pin SER_nRE_Pin SER_nRE_REV_Pin */
  GPIO_InitStruct.Pin = RS422_DE_Pin|RS422_DE_REV_Pin|SER_nRE_Pin|SER_nRE_REV_Pin;
  GPIO_InitStruct.Mode = GPIO_MODE_OUTPUT_PP;
  GPIO_InitStruct.Pull = GPIO_NOPULL;
  GPIO_InitStruct.Speed = GPIO_SPEED_FREQ_LOW;
  HAL_GPIO_Init(GPIOD, &GPIO_InitStruct);

  /*Configure GPIO pin : BOARDID_0_Pin */
  GPIO_InitStruct.Pin = BOARDID_0_Pin;
  GPIO_InitStruct.Mode = GPIO_MODE_INPUT;
  GPIO_InitStruct.Pull = GPIO_PULLDOWN;
  HAL_GPIO_Init(BOARDID_0_GPIO_Port, &GPIO_InitStruct);

  /*Configure GPIO pins : DATA_7_Pin DATA_6_Pin DATA_5_Pin DATA_4_Pin
                           DATA_3_Pin DATA_2_Pin DATA_1_Pin DATA_0_Pin */
  GPIO_InitStruct.Pin = DATA_7_Pin|DATA_6_Pin|DATA_5_Pin|DATA_4_Pin
                          |DATA_3_Pin|DATA_2_Pin|DATA_1_Pin|DATA_0_Pin;
  GPIO_InitStruct.Mode = GPIO_MODE_INPUT;
  GPIO_InitStruct.Pull = GPIO_NOPULL;
  HAL_GPIO_Init(GPIOD, &GPIO_InitStruct);

  /*Configure GPIO pins : BOARDID_2_Pin BOARDID_3_Pin */
  GPIO_InitStruct.Pin = BOARDID_2_Pin|BOARDID_3_Pin;
  GPIO_InitStruct.Mode = GPIO_MODE_INPUT;
  GPIO_InitStruct.Pull = GPIO_PULLDOWN;
  HAL_GPIO_Init(GPIOB, &GPIO_InitStruct);

}

void Error_Handler(void)
{
  __disable_irq();
  while (1)
  {
  }
}
